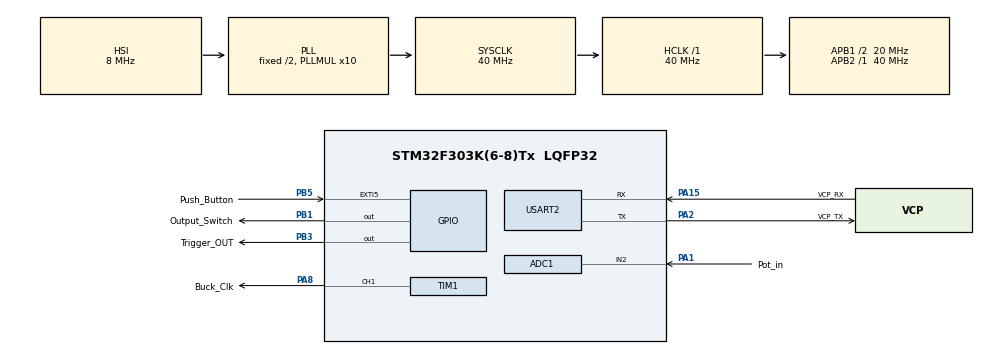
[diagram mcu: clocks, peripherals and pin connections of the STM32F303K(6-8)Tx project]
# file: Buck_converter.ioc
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ADC1.Channel-0\#ChannelRegularConversion=ADC_CHANNEL_2
ADC1.DMAContinuousRequests=ENABLE
ADC1.ExternalTrigConv=ADC_EXTERNALTRIGCONV_T3_TRGO
ADC1.NbrOfConversionFlag=1
ADC1.Offset-0\#ChannelRegularConversion=0
ADC1.OffsetNumber-0\#ChannelRegularConversion=ADC_OFFSET_NONE
ADC1.Rank-0\#ChannelRegularConversion=1
ADC1.SamplingTime-0\#ChannelRegularConversion=ADC_SAMPLETIME_1CYCLE_5
ADC1.SamplingTimeOPAMP-0\#ChannelRegularConversion=ADC_SAMPLETIME_19CYCLES_5
ADC1.SubFamily=STM32F303x8
ADC1.master=1
Dma.ADC1.0.Direction=DMA_PERIPH_TO_MEMORY
Dma.ADC1.0.Instance=DMA1_Channel1
Dma.ADC1.0.MemDataAlignment=DMA_MDATAALIGN_WORD
Dma.ADC1.0.MemInc=DMA_MINC_ENABLE
Dma.ADC1.0.Mode=DMA_CIRCULAR
Dma.ADC1.0.PeriphDataAlignment=DMA_PDATAALIGN_WORD
Dma.ADC1.0.PeriphInc=DMA_PINC_DISABLE
Dma.ADC1.0.Priority=DMA_PRIORITY_HIGH
Dma.Request0=ADC1
Mcu.Family=STM32F3
Mcu.Name=STM32F303K(6-8)Tx
Mcu.Package=LQFP32
NVIC.DMA1_Channel1_IRQn=true\:13\:0\:true\:false\:true\:false\:true\:true
NVIC.EXTI9_5_IRQn=true\:14\:0\:true\:false\:true\:true\:true\:true
NVIC.PriorityGroup=NVIC_PRIORITYGROUP_4
NVIC.TIM1_BRK_TIM15_IRQn=true\:14\:0\:true\:false\:true\:true\:true\:true
NVIC.TIM1_TRG_COM_TIM17_IRQn=true\:14\:0\:true\:false\:true\:true\:true\:true
NVIC.TIM1_UP_TIM16_IRQn=true\:14\:0\:true\:false\:true\:true\:true\:true
NVIC.TIM2_IRQn=true\:14\:0\:true\:false\:true\:true\:true\:true
NVIC.TIM6_DAC1_IRQn=true\:14\:0\:true\:false\:true\:true\:true\:true
NVIC.TIM7_DAC2_IRQn=true\:14\:0\:true\:false\:true\:true\:true\:true
PA1.GPIO_Label=Pot_in
PA1.Mode=IN2-Single-Ended
PA1.Signal=ADC1_IN2
PA13.GPIO_Label=SWDIO
PA13.Mode=Serial_Wire
PA13.Signal=SYS_JTMS-SWDIO
PA14.GPIO_Label=SWCLK
PA14.Mode=Serial_Wire
PA14.Signal=SYS_JTCK-SWCLK
PA15.GPIO_Label=VCP_RX
PA15.Mode=Asynchronous
PA15.Signal=USART2_RX
PA2.GPIO_Label=VCP_TX
PA2.Mode=Asynchronous
PA2.Signal=USART2_TX
PA8.GPIO_Label=Buck_Clk
PA8.Signal=S_TIM1_CH1
PB1.GPIO_Label=Output_Switch
PB1.PinState=GPIO_PIN_SET
PB1.Signal=GPIO_Output
PB3.GPIO_Label=Trigger_OUT
PB3.Signal=GPIO_Output
PB5.GPIO_Label=Push_Button
PB5.Signal=GPXTI5
PF0\ /\ OSC_IN.GPIO_Label=MCO
PF0\ /\ OSC_IN.Mode=HSE-External-Oscillator
PF0\ /\ OSC_IN.Signal=RCC_OSC_IN
PF1\ /\ OSC_OUT.Mode=HSE-External-Oscillator
PF1\ /\ OSC_OUT.Signal=RCC_OSC_OUT
ProjectManager.HeapSize=0x200
ProjectManager.StackSize=0x400
ProjectManager.TargetToolchain=STM32CubeIDE
RCC.AHBFreq_Value=40000000
RCC.APB1CLKDivider=RCC_HCLK_DIV2
RCC.APB1Freq_Value=20000000
RCC.APB1TimFreq_Value=40000000
RCC.APB2Freq_Value=40000000
RCC.APB2TimFreq_Value=40000000
RCC.CortexFreq_Value=40000000
RCC.HCLKFreq_Value=40000000
RCC.HSE_VALUE=8000000
RCC.HSI_VALUE=8000000
RCC.PLLMUL=RCC_PLL_MUL10
RCC.SYSCLKFreq_VALUE=40000000
RCC.SYSCLKSourceVirtual=RCC_SYSCLKSOURCE_PLLCLK
SH.S_TIM1_CH1.0=TIM1_CH1,PWM Generation1 CH1
TIM1.AutoReloadPreload=TIM_AUTORELOAD_PRELOAD_ENABLE
TIM1.Channel-PWM\ Generation1\ CH1=TIM_CHANNEL_1
TIM1.Period=100-1
TIM1.Prescaler=5-1
TIM1.Pulse-PWM\ Generation1\ CH1=50-1
TIM1.TIM_MasterOutputTrigger=TIM_TRGO_RESET
TIM15.AutoReloadPreload=TIM_AUTORELOAD_PRELOAD_ENABLE
TIM15.Period=8-1
TIM15.Prescaler=40000-1
TIM16.AutoReloadPreload=TIM_AUTORELOAD_PRELOAD_ENABLE
TIM16.Period=2-1
TIM16.Prescaler=40000-1
TIM17.AutoReloadPreload=TIM_AUTORELOAD_PRELOAD_ENABLE
TIM17.Period=4-1
TIM17.Prescaler=40000-1
TIM2.AutoReloadPreload=TIM_AUTORELOAD_PRELOAD_ENABLE
TIM2.Period=500-1
TIM2.Prescaler=40000-1
TIM3.AutoReloadPreload=TIM_AUTORELOAD_PRELOAD_ENABLE
TIM3.Period=10-1
TIM3.Prescaler=40000-1
TIM3.TIM_MasterOutputTrigger=TIM_TRGO_UPDATE
TIM6.AutoReloadPreload=TIM_AUTORELOAD_PRELOAD_ENABLE
TIM6.Period=4-1
TIM6.Prescaler=40000-1
TIM7.AutoReloadPreload=TIM_AUTORELOAD_PRELOAD_ENABLE
TIM7.Period=1000-1
TIM7.Prescaler=40000-1
USART2.VirtualMode-Asynchronous=VM_ASYNC
VP_TIM15_VS_ClockSourceINT.Mode=Internal
VP_TIM16_VS_ClockSourceINT.Mode=Enable_Timer
VP_TIM17_VS_ClockSourceINT.Mode=Enable_Timer
VP_TIM1_VS_ClockSourceINT.Mode=Internal
VP_TIM2_VS_ClockSourceINT.Mode=Internal
VP_TIM3_VS_ClockSourceINT.Mode=Internal
VP_TIM6_VS_ClockSourceINT.Mode=Enable_Timer
VP_TIM7_VS_ClockSourceINT.Mode=Enable_Timer
board=NUCLEO-F303K8

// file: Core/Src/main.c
/* USER CODE BEGIN Header */
/**
  ******************************************************************************
  * @file           : main.c
  * @brief          : Main program body
  ******************************************************************************
  * @attention
  *
  * Copyright (c) 2023 STMicroelectronics.
  * All rights reserved.
  *
  * This software is licensed under terms that can be found in the LICENSE file
  * in the root directory of this software component.
  * If no LICENSE file comes with this software, it is provided AS-IS.
  *
  ******************************************************************************
  */
/* USER CODE END Header */
#include "main.h"

ADC_HandleTypeDef hadc1;
DMA_HandleTypeDef hdma_adc1;

TIM_HandleTypeDef htim1;
TIM_HandleTypeDef htim2;
TIM_HandleTypeDef htim3;
TIM_HandleTypeDef htim6;
TIM_HandleTypeDef htim7;
TIM_HandleTypeDef htim15;
TIM_HandleTypeDef htim16;
TIM_HandleTypeDef htim17;

UART_HandleTypeDef huart2;

/* USER CODE BEGIN PV */
uint32_t adc_buffer_in = 0;

/* USER CODE END PV */

void SystemClock_Config(void);
static void MX_GPIO_Init(void);
static void MX_DMA_Init(void);
static void MX_USART2_UART_Init(void);
static void MX_TIM1_Init(void);
static void MX_ADC1_Init(void);
static void MX_TIM3_Init(void);
static void MX_TIM7_Init(void);
static void MX_TIM6_Init(void);
static void MX_TIM16_Init(void);
static void MX_TIM2_Init(void);
static void MX_TIM15_Init(void);
static void MX_TIM17_Init(void);
/* USER CODE BEGIN PFP */
uint8_t state_debounce = 1;
uint8_t state_running = 0;
/* USER CODE END PFP */

/* USER CODE BEGIN 0 */
void HAL_GPIO_EXTI_Callback(uint16_t GPIO_Pin){
	if(GPIO_Pin == Push_Button_Pin && state_debounce == 1){
		state_debounce = 0;
		HAL_TIM_Base_Start_IT(&htim7);
	}
	else{
		__NOP();
	}
}

void HAL_TIM_PeriodElapsedCallback(TIM_HandleTypeDef *htim){
	// for debouncing
	if(htim->Instance == htim7.Instance){
		HAL_TIM_Base_Stop_IT(&htim7);
		if(state_running == 0){
			HAL_TIM_Base_Start_IT(&htim2);
			state_running = 1;
		}else{
			HAL_TIM_Base_Stop_IT(&htim2);
			state_running = 0;
		}
		state_debounce = 1;
	}
	// run switch cycle
	if(htim->Instance == htim2.Instance){
		HAL_TIM_Base_Start_IT(&htim6);
		HAL_TIM_Base_Start_IT(&htim16);
		HAL_TIM_Base_Start_IT(&htim15);
		HAL_TIM_Base_Start_IT(&htim17);
	}
	// high trigger
	if(htim->Instance == htim6.Instance){
		HAL_TIM_Base_Stop_IT(&htim6);
		HAL_GPIO_WritePin(Trigger_OUT_GPIO_Port, Trigger_OUT_Pin, GPIO_PIN_SET);
	}
	// low trigger
	if(htim->Instance == htim15.Instance){
		HAL_TIM_Base_Stop_IT(&htim15);
		HAL_GPIO_WritePin(Trigger_OUT_GPIO_Port, Trigger_OUT_Pin, GPIO_PIN_RESET);
	}
	// open mosfet
	if(htim->Instance == htim16.Instance){
		HAL_TIM_Base_Stop_IT(&htim16);
		HAL_GPIO_WritePin(Output_Switch_GPIO_Port, Output_Switch_Pin, GPIO_PIN_RESET);
	}
	// close mosfet
	if(htim->Instance == htim17.Instance){
		HAL_TIM_Base_Stop_IT(&htim17);
		HAL_GPIO_WritePin(Output_Switch_GPIO_Port, Output_Switch_Pin, GPIO_PIN_SET);
	}
}
uint8_t buf;
void HAL_ADC_ConvCpltCallback(ADC_HandleTypeDef* hadc){
	buf = (uint8_t)(((float)(adc_buffer_in >> 5) / 127.0f) * 60.0f + 10.0f);
	htim1.Instance->CCR1 = buf;
}
/* USER CODE END 0 */

int main(void)
{

  /* MCU Configuration--------------------------------------------------------*/

  /* Reset of all peripherals, Initializes the Flash interface and the Systick. */
  HAL_Init();

  /* Configure the system clock */
  SystemClock_Config();

  /* Initialize all configured peripherals */
  MX_GPIO_Init();
  MX_DMA_Init();
  MX_USART2_UART_Init();
  MX_TIM1_Init();
  MX_ADC1_Init();
  MX_TIM3_Init();
  MX_TIM7_Init();
  MX_TIM6_Init();
  MX_TIM16_Init();
  MX_TIM2_Init();
  MX_TIM15_Init();
  MX_TIM17_Init();
  /* USER CODE BEGIN 2 */
  HAL_ADCEx_Calibration_Start(&hadc1, ADC_SINGLE_ENDED);
  HAL_TIM_PWM_Start(&htim1, TIM_CHANNEL_1);
  HAL_ADC_Start_DMA(&hadc1, &adc_buffer_in, 1);
  HAL_TIM_Base_Start(&htim3);
  /* USER CODE END 2 */

  /* Infinite loop */
  while (1)
  {

  }
}

void SystemClock_Config(void)
{
  RCC_OscInitTypeDef RCC_OscInitStruct = {0};
  RCC_ClkInitTypeDef RCC_ClkInitStruct = {0};
  RCC_PeriphCLKInitTypeDef PeriphClkInit = {0};

  /** Initializes the RCC Oscillators according to the specified parameters
  * in the RCC_OscInitTypeDef structure.
  */
  RCC_OscInitStruct.OscillatorType = RCC_OSCILLATORTYPE_HSI;
  RCC_OscInitStruct.HSIState = RCC_HSI_ON;
  RCC_OscInitStruct.HSICalibrationValue = RCC_HSICALIBRATION_DEFAULT;
  RCC_OscInitStruct.PLL.PLLState = RCC_PLL_ON;
  RCC_OscInitStruct.PLL.PLLSource = RCC_PLLSOURCE_HSI;
  RCC_OscInitStruct.PLL.PLLMUL = RCC_PLL_MUL10;
  if (HAL_RCC_OscConfig(&RCC_OscInitStruct) != HAL_OK)
  {
    Error_Handler();
  }

  /** Initializes the CPU, AHB and APB buses clocks
  */
  RCC_ClkInitStruct.ClockType = RCC_CLOCKTYPE_HCLK|RCC_CLOCKTYPE_SYSCLK
                              |RCC_CLOCKTYPE_PCLK1|RCC_CLOCKTYPE_PCLK2;
  RCC_ClkInitStruct.SYSCLKSource = RCC_SYSCLKSOURCE_PLLCLK;
  RCC_ClkInitStruct.AHBCLKDivider = RCC_SYSCLK_DIV1;
  RCC_ClkInitStruct.APB1CLKDivider = RCC_HCLK_DIV2;
  RCC_ClkInitStruct.APB2CLKDivider = RCC_HCLK_DIV1;

  if (HAL_RCC_ClockConfig(&RCC_ClkInitStruct, FLASH_LATENCY_1) != HAL_OK)
  {
    Error_Handler();
  }
  PeriphClkInit.PeriphClockSelection = RCC_PERIPHCLK_TIM1|RCC_PERIPHCLK_ADC12;
  PeriphClkInit.Adc12ClockSelection = RCC_ADC12PLLCLK_DIV1;
  PeriphClkInit.Tim1ClockSelection = RCC_TIM1CLK_HCLK;
  if (HAL_RCCEx_PeriphCLKConfig(&PeriphClkInit) != HAL_OK)
  {
    Error_Handler();
  }
}

static void MX_ADC1_Init(void)
{

  ADC_MultiModeTypeDef multimode = {0};
  ADC_ChannelConfTypeDef sConfig = {0};

  /** Common config
  */
  hadc1.Instance = ADC1;
  hadc1.Init.ClockPrescaler = ADC_CLOCK_ASYNC_DIV1;
  hadc1.Init.Resolution = ADC_RESOLUTION_12B;
  hadc1.Init.ScanConvMode = ADC_SCAN_DISABLE;
  hadc1.Init.ContinuousConvMode = DISABLE;
  hadc1.Init.DiscontinuousConvMode = DISABLE;
  hadc1.Init.ExternalTrigConvEdge = ADC_EXTERNALTRIGCONVEDGE_RISING;
  hadc1.Init.ExternalTrigConv = ADC_EXTERNALTRIGCONV_T3_TRGO;
  hadc1.Init.DataAlign = ADC_DATAALIGN_RIGHT;
  hadc1.Init.NbrOfConversion = 1;
  hadc1.Init.DMAContinuousRequests = ENABLE;
  hadc1.Init.EOCSelection = ADC_EOC_SINGLE_CONV;
  hadc1.Init.LowPowerAutoWait = DISABLE;
  hadc1.Init.Overrun = ADC_OVR_DATA_OVERWRITTEN;
  if (HAL_ADC_Init(&hadc1) != HAL_OK)
  {
    Error_Handler();
  }

  /** Configure the ADC multi-mode
  */
  multimode.Mode = ADC_MODE_INDEPENDENT;
  if (HAL_ADCEx_MultiModeConfigChannel(&hadc1, &multimode) != HAL_OK)
  {
    Error_Handler();
  }

  /** Configure Regular Channel
  */
  sConfig.Channel = ADC_CHANNEL_2;
  sConfig.Rank = ADC_REGULAR_RANK_1;
  sConfig.SingleDiff = ADC_SINGLE_ENDED;
  sConfig.SamplingTime = ADC_SAMPLETIME_1CYCLE_5;
  sConfig.OffsetNumber = ADC_OFFSET_NONE;
  sConfig.Offset = 0;
  if (HAL_ADC_ConfigChannel(&hadc1, &sConfig) != HAL_OK)
  {
    Error_Handler();
  }

}

static void MX_TIM1_Init(void)
{

  TIM_ClockConfigTypeDef sClockSourceConfig = {0};
  TIM_MasterConfigTypeDef sMasterConfig = {0};
  TIM_OC_InitTypeDef sConfigOC = {0};
  TIM_BreakDeadTimeConfigTypeDef sBreakDeadTimeConfig = {0};

  htim1.Instance = TIM1;
  htim1.Init.Prescaler = 5-1;
  htim1.Init.CounterMode = TIM_COUNTERMODE_UP;
  htim1.Init.Period = 100-1;
  htim1.Init.ClockDivision = TIM_CLOCKDIVISION_DIV1;
  htim1.Init.RepetitionCounter = 0;
  htim1.Init.AutoReloadPreload = TIM_AUTORELOAD_PRELOAD_ENABLE;
  if (HAL_TIM_Base_Init(&htim1) != HAL_OK)
  {
    Error_Handler();
  }
  sClockSourceConfig.ClockSource = TIM_CLOCKSOURCE_INTERNAL;
  if (HAL_TIM_ConfigClockSource(&htim1, &sClockSourceConfig) != HAL_OK)
  {
    Error_Handler();
  }
  if (HAL_TIM_PWM_Init(&htim1) != HAL_OK)
  {
    Error_Handler();
  }
  sMasterConfig.MasterOutputTrigger = TIM_TRGO_RESET;
  sMasterConfig.MasterOutputTrigger2 = TIM_TRGO2_RESET;
  sMasterConfig.MasterSlaveMode = TIM_MASTERSLAVEMODE_DISABLE;
  if (HAL_TIMEx_MasterConfigSynchronization(&htim1, &sMasterConfig) != HAL_OK)
  {
    Error_Handler();
  }
  sConfigOC.OCMode = TIM_OCMODE_PWM1;
  sConfigOC.Pulse = 50-1;
  sConfigOC.OCPolarity = TIM_OCPOLARITY_HIGH;
  sConfigOC.OCNPolarity = TIM_OCNPOLARITY_HIGH;
  sConfigOC.OCFastMode = TIM_OCFAST_DISABLE;
  sConfigOC.OCIdleState = TIM_OCIDLESTATE_RESET;
  sConfigOC.OCNIdleState = TIM_OCNIDLESTATE_RESET;
  if (HAL_TIM_PWM_ConfigChannel(&htim1, &sConfigOC, TIM_CHANNEL_1) != HAL_OK)
  {
    Error_Handler();
  }
  sBreakDeadTimeConfig.OffStateRunMode = TIM_OSSR_DISABLE;
  sBreakDeadTimeConfig.OffStateIDLEMode = TIM_OSSI_DISABLE;
  sBreakDeadTimeConfig.LockLevel = TIM_LOCKLEVEL_OFF;
  sBreakDeadTimeConfig.DeadTime = 0;
  sBreakDeadTimeConfig.BreakState = TIM_BREAK_DISABLE;
  sBreakDeadTimeConfig.BreakPolarity = TIM_BREAKPOLARITY_HIGH;
  sBreakDeadTimeConfig.BreakFilter = 0;
  sBreakDeadTimeConfig.Break2State = TIM_BREAK2_DISABLE;
  sBreakDeadTimeConfig.Break2Polarity = TIM_BREAK2POLARITY_HIGH;
  sBreakDeadTimeConfig.Break2Filter = 0;
  sBreakDeadTimeConfig.AutomaticOutput = TIM_AUTOMATICOUTPUT_DISABLE;
  if (HAL_TIMEx_ConfigBreakDeadTime(&htim1, &sBreakDeadTimeConfig) != HAL_OK)
  {
    Error_Handler();
  }
  HAL_TIM_MspPostInit(&htim1);

}

static void MX_TIM2_Init(void)
{

  TIM_ClockConfigTypeDef sClockSourceConfig = {0};
  TIM_MasterConfigTypeDef sMasterConfig = {0};

  htim2.Instance = TIM2;
  htim2.Init.Prescaler = 40000-1;
  htim2.Init.CounterMode = TIM_COUNTERMODE_UP;
  htim2.Init.Period = 500-1;
  htim2.Init.ClockDivision = TIM_CLOCKDIVISION_DIV1;
  htim2.Init.AutoReloadPreload = TIM_AUTORELOAD_PRELOAD_ENABLE;
  if (HAL_TIM_Base_Init(&htim2) != HAL_OK)
  {
    Error_Handler();
  }
  sClockSourceConfig.ClockSource = TIM_CLOCKSOURCE_INTERNAL;
  if (HAL_TIM_ConfigClockSource(&htim2, &sClockSourceConfig) != HAL_OK)
  {
    Error_Handler();
  }
  sMasterConfig.MasterOutputTrigger = TIM_TRGO_RESET;
  sMasterConfig.MasterSlaveMode = TIM_MASTERSLAVEMODE_DISABLE;
  if (HAL_TIMEx_MasterConfigSynchronization(&htim2, &sMasterConfig) != HAL_OK)
  {
    Error_Handler();
  }

}

static void MX_TIM3_Init(void)
{

  TIM_ClockConfigTypeDef sClockSourceConfig = {0};
  TIM_MasterConfigTypeDef sMasterConfig = {0};

  htim3.Instance = TIM3;
  htim3.Init.Prescaler = 40000-1;
  htim3.Init.CounterMode = TIM_COUNTERMODE_UP;
  htim3.Init.Period = 10-1;
  htim3.Init.ClockDivision = TIM_CLOCKDIVISION_DIV1;
  htim3.Init.AutoReloadPreload = TIM_AUTORELOAD_PRELOAD_ENABLE;
  if (HAL_TIM_Base_Init(&htim3) != HAL_OK)
  {
    Error_Handler();
  }
  sClockSourceConfig.ClockSource = TIM_CLOCKSOURCE_INTERNAL;
  if (HAL_TIM_ConfigClockSource(&htim3, &sClockSourceConfig) != HAL_OK)
  {
    Error_Handler();
  }
  sMasterConfig.MasterOutputTrigger = TIM_TRGO_UPDATE;
  sMasterConfig.MasterSlaveMode = TIM_MASTERSLAVEMODE_DISABLE;
  if (HAL_TIMEx_MasterConfigSynchronization(&htim3, &sMasterConfig) != HAL_OK)
  {
    Error_Handler();
  }

}

static void MX_TIM6_Init(void)
{

  TIM_MasterConfigTypeDef sMasterConfig = {0};

  htim6.Instance = TIM6;
  htim6.Init.Prescaler = 40000-1;
  htim6.Init.CounterMode = TIM_COUNTERMODE_UP;
  htim6.Init.Period = 4-1;
  htim6.Init.AutoReloadPreload = TIM_AUTORELOAD_PRELOAD_ENABLE;
  if (HAL_TIM_Base_Init(&htim6) != HAL_OK)
  {
    Error_Handler();
  }
  sMasterConfig.MasterOutputTrigger = TIM_TRGO_RESET;
  sMasterConfig.MasterSlaveMode = TIM_MASTERSLAVEMODE_DISABLE;
  if (HAL_TIMEx_MasterConfigSynchronization(&htim6, &sMasterConfig) != HAL_OK)
  {
    Error_Handler();
  }

}

static void MX_TIM7_Init(void)
{

  TIM_MasterConfigTypeDef sMasterConfig = {0};

  htim7.Instance = TIM7;
  htim7.Init.Prescaler = 40000-1;
  htim7.Init.CounterMode = TIM_COUNTERMODE_UP;
  htim7.Init.Period = 1000-1;
  htim7.Init.AutoReloadPreload = TIM_AUTORELOAD_PRELOAD_ENABLE;
  if (HAL_TIM_Base_Init(&htim7) != HAL_OK)
  {
    Error_Handler();
  }
  sMasterConfig.MasterOutputTrigger = TIM_TRGO_RESET;
  sMasterConfig.MasterSlaveMode = TIM_MASTERSLAVEMODE_DISABLE;
  if (HAL_TIMEx_MasterConfigSynchronization(&htim7, &sMasterConfig) != HAL_OK)
  {
    Error_Handler();
  }

}

static void MX_TIM15_Init(void)
{

  TIM_ClockConfigTypeDef sClockSourceConfig = {0};
  TIM_MasterConfigTypeDef sMasterConfig = {0};

  htim15.Instance = TIM15;
  htim15.Init.Prescaler = 40000-1;
  htim15.Init.CounterMode = TIM_COUNTERMODE_UP;
  htim15.Init.Period = 8-1;
  htim15.Init.ClockDivision = TIM_CLOCKDIVISION_DIV1;
  htim15.Init.RepetitionCounter = 0;
  htim15.Init.AutoReloadPreload = TIM_AUTORELOAD_PRELOAD_ENABLE;
  if (HAL_TIM_Base_Init(&htim15) != HAL_OK)
  {
    Error_Handler();
  }
  sClockSourceConfig.ClockSource = TIM_CLOCKSOURCE_INTERNAL;
  if (HAL_TIM_ConfigClockSource(&htim15, &sClockSourceConfig) != HAL_OK)
  {
    Error_Handler();
  }
  sMasterConfig.MasterOutputTrigger = TIM_TRGO_RESET;
  sMasterConfig.MasterSlaveMode = TIM_MASTERSLAVEMODE_DISABLE;
  if (HAL_TIMEx_MasterConfigSynchronization(&htim15, &sMasterConfig) != HAL_OK)
  {
    Error_Handler();
  }

}

static void MX_TIM16_Init(void)
{

  htim16.Instance = TIM16;
  htim16.Init.Prescaler = 40000-1;
  htim16.Init.CounterMode = TIM_COUNTERMODE_UP;
  htim16.Init.Period = 2-1;
  htim16.Init.ClockDivision = TIM_CLOCKDIVISION_DIV1;
  htim16.Init.RepetitionCounter = 0;
  htim16.Init.AutoReloadPreload = TIM_AUTORELOAD_PRELOAD_ENABLE;
  if (HAL_TIM_Base_Init(&htim16) != HAL_OK)
  {
    Error_Handler();
  }

}

static void MX_TIM17_Init(void)
{

  htim17.Instance = TIM17;
  htim17.Init.Prescaler = 40000-1;
  htim17.Init.CounterMode = TIM_COUNTERMODE_UP;
  htim17.Init.Period = 4-1;
  htim17.Init.ClockDivision = TIM_CLOCKDIVISION_DIV1;
  htim17.Init.RepetitionCounter = 0;
  htim17.Init.AutoReloadPreload = TIM_AUTORELOAD_PRELOAD_ENABLE;
  if (HAL_TIM_Base_Init(&htim17) != HAL_OK)
  {
    Error_Handler();
  }

}

static void MX_USART2_UART_Init(void)
{

  huart2.Instance = USART2;
  huart2.Init.BaudRate = 38400;
  huart2.Init.WordLength = UART_WORDLENGTH_8B;
  huart2.Init.StopBits = UART_STOPBITS_1;
  huart2.Init.Parity = UART_PARITY_NONE;
  huart2.Init.Mode = UART_MODE_TX_RX;
  huart2.Init.HwFlowCtl = UART_HWCONTROL_NONE;
  huart2.Init.OverSampling = UART_OVERSAMPLING_16;
  huart2.Init.OneBitSampling = UART_ONE_BIT_SAMPLE_DISABLE;
  huart2.AdvancedInit.AdvFeatureInit = UART_ADVFEATURE_NO_INIT;
  if (HAL_UART_Init(&huart2) != HAL_OK)
  {
    Error_Handler();
  }

}

static void MX_DMA_Init(void)
{

  /* DMA controller clock enable */
  __HAL_RCC_DMA1_CLK_ENABLE();

  /* DMA interrupt init */
  /* DMA1_Channel1_IRQn interrupt configuration */
  HAL_NVIC_SetPriority(DMA1_Channel1_IRQn, 13, 0);
  HAL_NVIC_EnableIRQ(DMA1_Channel1_IRQn);

}

static void MX_GPIO_Init(void)
{
  GPIO_InitTypeDef GPIO_InitStruct = {0};

  /* GPIO Ports Clock Enable */
  __HAL_RCC_GPIOF_CLK_ENABLE();
  __HAL_RCC_GPIOA_CLK_ENABLE();
  __HAL_RCC_GPIOB_CLK_ENABLE();

  /*Configure GPIO pin Output Level */
  HAL_GPIO_WritePin(Output_Switch_GPIO_Port, Output_Switch_Pin, GPIO_PIN_SET);

  /*Configure GPIO pin Output Level */
  HAL_GPIO_WritePin(Trigger_OUT_GPIO_Port, Trigger_OUT_Pin, GPIO_PIN_RESET);

  /*Configure GPIO pins : Output_Switch_Pin Trigger_OUT_Pin */
  GPIO_InitStruct.Pin = Output_Switch_Pin|Trigger_OUT_Pin;
  GPIO_InitStruct.Mode = GPIO_MODE_OUTPUT_PP;
  GPIO_InitStruct.Pull = GPIO_NOPULL;
  GPIO_InitStruct.Speed = GPIO_SPEED_FREQ_LOW;
  HAL_GPIO_Init(GPIOB, &GPIO_InitStruct);

  /*Configure GPIO pin : Push_Button_Pin */
  GPIO_InitStruct.Pin = Push_Button_Pin;
  GPIO_InitStruct.Mode = GPIO_MODE_IT_RISING;
  GPIO_InitStruct.Pull = GPIO_NOPULL;
  HAL_GPIO_Init(Push_Button_GPIO_Port, &GPIO_InitStruct);

  /* EXTI interrupt init*/
  HAL_NVIC_SetPriority(EXTI9_5_IRQn, 14, 0);
  HAL_NVIC_EnableIRQ(EXTI9_5_IRQn);

}

void Error_Handler(void)
{
  __disable_irq();
  while (1)
  {
  }
}
